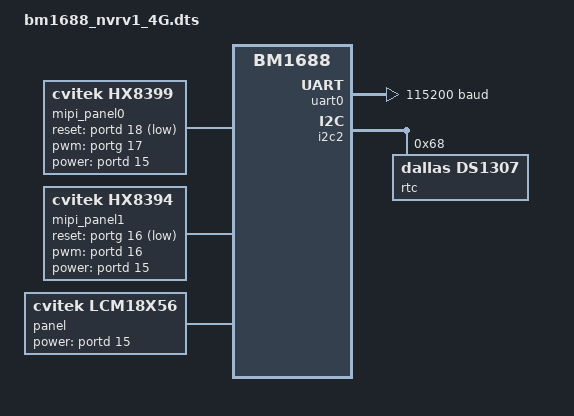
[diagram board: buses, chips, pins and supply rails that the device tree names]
/dts-v1/;
#include "soph_base_arm64.dtsi"
//#include "soph_asic_bga.dtsi"
#include "soph_asic_emmc.dtsi"
#include "soph_default_memmap_4G.dtsi"

/ {
	aliases {
		serial0 = &uart0;
	};

	chosen {
		stdout-path = "serial0"; // "serial0:115200n8", no arguments means no re-initialization
	};

	reserved-memory {
		#address-cells = <0x2>;
		#size-cells = <0x2>;
		ranges;
#ifndef __UBOOT__
		//0x1_0400_0000 - 0x1_2400_0000 for TPU (owner: zhuolin.li@sophgo.com)
		scalar_reserved: scalar_mem {
			reg = <0x1 0x04000000 0x0 0x20000000>;  //512MB for TPU firmware
			no-map;
		};

		//0x1_2c00_0000 - 0x1_5c00_0000 for TPU (owner: zhuolin.li@sophgo.com)
		ion_for_npu: ion_npu_mem {
			compatible = "npu-region";
			reg = <0x1 0x24000000 0x0 0x30000000>; // 768MB, for TPU
		};

		//0x1_5c00_0000 - 0x1_C000_0000 for VPP (owner: zhuolin.li@sophgo.com)
		ion_for_vpp: ion_vpp_mem {
			compatible = "vpp-region";
			reg = <0x1 0x5c000000 0x0 0x60000000>; // 1.5GB, for VPP
		};
#endif
	};

	pcie@20400000 {
		reset-gpio = <&porte 1 GPIO_ACTIVE_HIGH>; //gpio 129
	};

	/delete-node/ cv-sd1@29320000;
	sd:cv-sd@29310000 {
		 pwr-gpios = <&porte 6 GPIO_ACTIVE_HIGH>;
	};

	thermal-zones {
		soc_thermal_0 {
			trips {
				soc_thermal_trip_0 {
					temperature = <85000>; /* millicelsius */
					hysteresis = <10000>; /* millicelsius */
					type = "passive";
				};

				soc_thermal_trip_1 {
					temperature = <95000>; /* millicelsius */
					hysteresis = <20000>; /* millicelsius */
					type = "passive";
				};

				soc_thermal_crtical_0 {
					temperature = <105000>; /* millicelsius */
					hysteresis = <0>; /* millicelsius */
					type = "critical";

				};
			};
		};
	};

};

&uart0 {
	clock-frequency = <200000000>;
	current-speed = <115200>;
};

&mipi_dsi0 {
	clock-lane = <2>;
	data-lanes = <4 3 1 0>;
	lanes-swap = <0 0 0 0 0>;
};

&mipi_panel0 {
	compatible = "cvitek,hx8399";
	status = "okay";
	reset-gpio = <&portd 18 GPIO_ACTIVE_LOW>;
	pwm-gpio = <&portg 17 GPIO_ACTIVE_HIGH>;
	power-gpio = <&portd 15 GPIO_ACTIVE_HIGH>;
};

&mipi_dsi1 {
	clock-lane = <2>;
	data-lanes = <0 1 3 4>;
	lanes-swap = <0 0 0 0 0>;
};

&mipi_panel1 {
	compatible = "cvitek,hx8394";
	status = "okay";
	reset-gpio = <&portg 16 GPIO_ACTIVE_LOW>;
	pwm-gpio = <&portd 16 GPIO_ACTIVE_HIGH>;
	power-gpio = <&portd 15 GPIO_ACTIVE_HIGH>;
};

&hdmi {
	phy-table =
			<0  0x0007 0x0120 0x8d88>,
			<1  0x0007 0x0120 0x8d88>,
			<2  0x0007 0x0120 0x8d88>,
			<3  0x0007 0x0120 0x8d88>,
			<4  0x0007 0x0120 0x8d88>,
			<5  0x0007 0x0120 0x8d88>,
			<6  0x0000 0x0120 0x83F8>,
			<7  0x0000 0x0120 0x83F8>,
			<8  0x0000 0x0120 0x83F8>,
			<9  0x0000 0x0080 0x8FF4>,
			<10 0x0000 0x0080 0x8FF4>;
};

&panel {
	compatible = "cvitek,lcm18x56";
	power-gpio = <&portd 15 GPIO_ACTIVE_HIGH>;
	status = "okay";
};

&panel1 {
	compatible = "cvitek,lcm18x56";
	power-gpio = <&portd 15 GPIO_ACTIVE_HIGH>;
	status = "disable";
};


&usbdrd3_0 {
	usbdrd_dwc3_0: usb@39010000 {
		role-switch-default-mode = "host";
	};
};

&i2c2 {
	rtc@68 {
		compatible = "dallas,ds1307";
		reg = <0x68>;
	};
};
